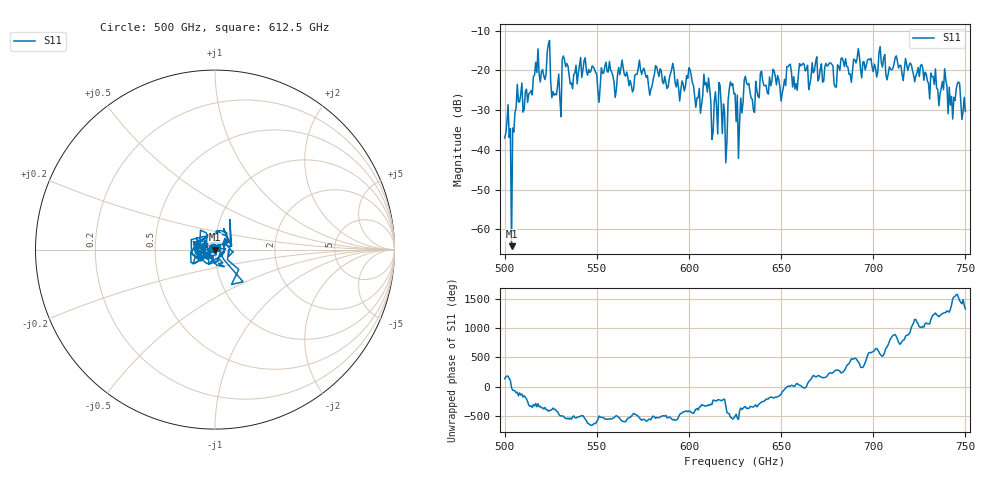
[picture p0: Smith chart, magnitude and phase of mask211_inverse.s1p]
!Created with skrf (http://scikit-rf.org).
# GHz S MA R 50.0
!freq magS11 angS11
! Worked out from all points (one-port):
!   401 points, 500 GHz to 750 GHz, reference 50 ohm
!   lowest |S11| = -64.3 dB at 503.8 GHz (marker M1), VSWR 1.00, Z = 50.1 - j0.0196 ohm
!   |S11| at or under -10 dB: start of sweep to end of sweep
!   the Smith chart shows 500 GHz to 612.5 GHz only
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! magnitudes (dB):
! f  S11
! 500 GHz  -37.0
! 501.9 GHz  -28.6
! 503.8 GHz  -64.3
! 508.1 GHz  -27.9
! 513.8 GHz  -25.6
! 516.9 GHz  -18.0
! 523.8 GHz  -13.4
! 526.9 GHz  -26.3
! 531.2 GHz  -17.2
! 532.5 GHz  -17.3
! 562.5 GHz  -21.1
! 593.8 GHz  -22.3
! 600 GHz  -19.3
! 605 GHz  -26.9
! 609.4 GHz  -23.1
! 612.5 GHz  -37.4
! 617.5 GHz  -28.5
! 619.4 GHz  -30.7
! 622.5 GHz  -22.9
! 625 GHz  -25.8
! 628.1 GHz  -26.9
! 631.2 GHz  -23.2
! 634.4 GHz  -27.2
! 640 GHz  -22.6
! 656.2 GHz  -24.2
! 687.5 GHz  -20.9
! 718.8 GHz  -20.0
! 750 GHz  -30.3
